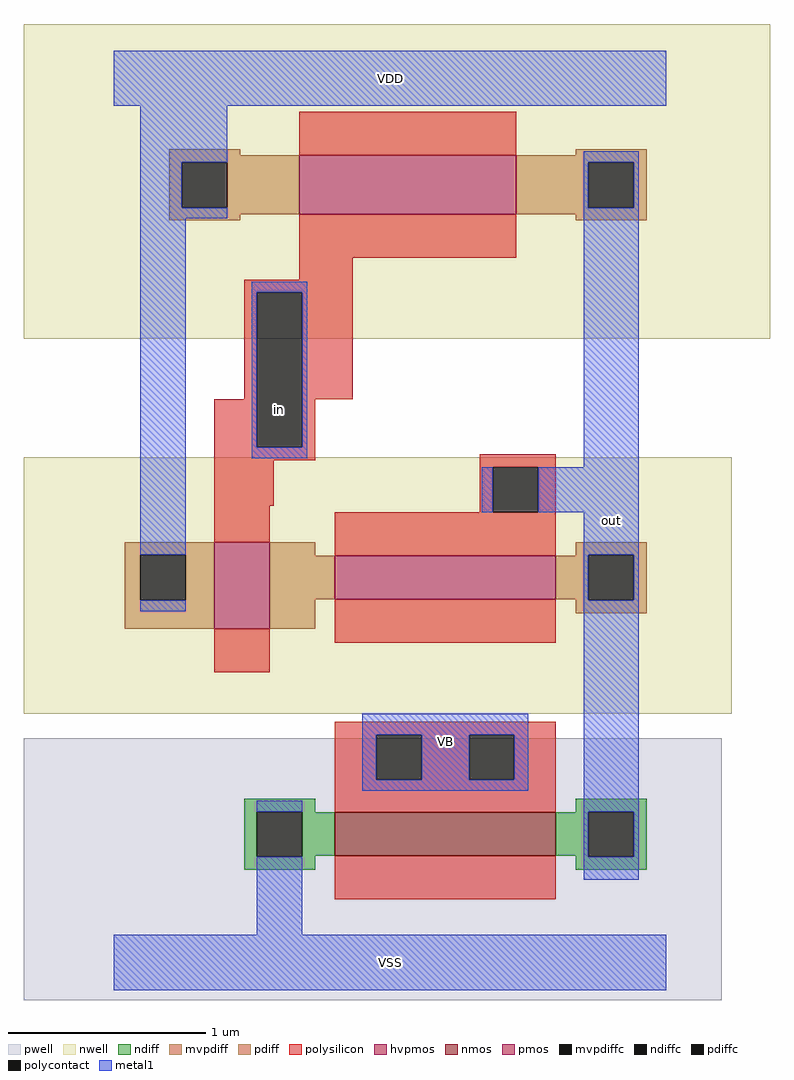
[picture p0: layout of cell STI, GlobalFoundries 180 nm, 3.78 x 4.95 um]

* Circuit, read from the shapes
.subckt STI VDD VSS out in VB
XM1 out VB VSS VSUBS nfet_03v3 w=0.22u l=1.12u
XM2 n1 in VDD n2 pfet_03v3 w=0.44u l=0.28u
XM3 out in VDD n3 pfet_06v0 w=0.3u l=1.1u
XM4 out out n1 n2 pfet_03v3 w=0.22u l=1.12u
.ends

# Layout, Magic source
magic
tech gf180mcuD
magscale 1 10
<< nwell >>
rect -91 632 665 951
rect -91 252 626 512
<< pwell >>
rect -91 -38 616 227
<< nmos >>
rect 224 108 448 152
<< pmos >>
rect 102 338 158 426
rect 224 368 448 412
<< hvpmos >>
rect 188 758 408 818
<< ndiff >>
rect 132 153 204 166
rect 132 107 145 153
rect 191 152 204 153
rect 468 153 540 166
rect 468 152 481 153
rect 191 108 224 152
rect 448 108 481 152
rect 191 107 204 108
rect 132 94 204 107
rect 468 107 481 108
rect 527 107 540 153
rect 468 94 540 107
<< pdiff >>
rect 11 413 102 426
rect 11 367 27 413
rect 73 367 102 413
rect 11 338 102 367
rect 158 412 204 426
rect 468 413 540 426
rect 468 412 481 413
rect 158 368 224 412
rect 448 368 481 412
rect 158 338 204 368
rect 468 367 481 368
rect 527 367 540 413
rect 468 354 540 367
<< mvpdiff >>
rect 56 818 128 824
rect 468 818 540 824
rect 56 811 188 818
rect 56 765 69 811
rect 115 765 188 811
rect 56 758 188 765
rect 408 811 540 818
rect 408 765 481 811
rect 527 765 540 811
rect 408 758 540 765
rect 56 752 128 758
rect 468 752 540 758
<< ndiffc >>
rect 145 107 191 153
rect 481 107 527 153
<< pdiffc >>
rect 27 367 73 413
rect 481 367 527 413
<< mvpdiffc >>
rect 69 765 115 811
rect 481 765 527 811
<< polysilicon >>
rect 188 818 408 862
rect 188 714 408 758
rect 188 692 242 714
rect 132 679 242 692
rect 132 571 145 679
rect 102 522 145 571
rect 191 571 242 679
rect 191 522 204 571
rect 102 509 204 522
rect 102 463 162 509
rect 371 502 448 515
rect 102 426 158 463
rect 371 456 384 502
rect 430 456 448 502
rect 224 412 448 456
rect 102 294 158 338
rect 224 324 448 368
rect 224 231 448 244
rect 224 185 266 231
rect 312 185 360 231
rect 406 185 448 231
rect 224 152 448 185
rect 224 64 448 108
<< polycontact >>
rect 145 522 191 679
rect 384 456 430 502
rect 266 185 312 231
rect 360 185 406 231
<< metal1 >>
rect 0 868 560 924
rect 27 811 115 868
rect 27 765 69 811
rect 27 754 115 765
rect 476 811 532 822
rect 476 765 481 811
rect 527 765 532 811
rect 27 413 73 754
rect 140 679 196 690
rect 140 522 145 679
rect 191 522 196 679
rect 140 511 196 522
rect 476 502 532 765
rect 373 456 384 502
rect 430 456 532 502
rect 27 356 73 367
rect 476 413 532 456
rect 476 367 481 413
rect 527 367 532 413
rect 252 231 420 252
rect 252 185 266 231
rect 312 185 360 231
rect 406 185 420 231
rect 252 174 420 185
rect 145 153 191 164
rect 145 28 191 107
rect 476 153 532 367
rect 476 107 481 153
rect 527 107 532 153
rect 476 84 532 107
rect 0 -28 560 28
<< labels >>
rlabel metal1 0 -28 560 28 0 VSS
port 6 nsew ground bidirectional
rlabel metal1 0 868 560 924 0 VDD
port 5 nsew power bidirectional
rlabel metal1 140 532 196 588 0 in
port 9 nsew signal input
rlabel metal1 476 84 532 812 0 out
port 7 nsew signal output
rlabel metal1 252 196 420 252 0 VB
port 10 nsew signal input
<< properties >>
string FIXED_BBOX 0 0 560 896
string fixed_BBOX 0 0 560 896
string LEFclass core
string LEFsite site056um
<< end >>
